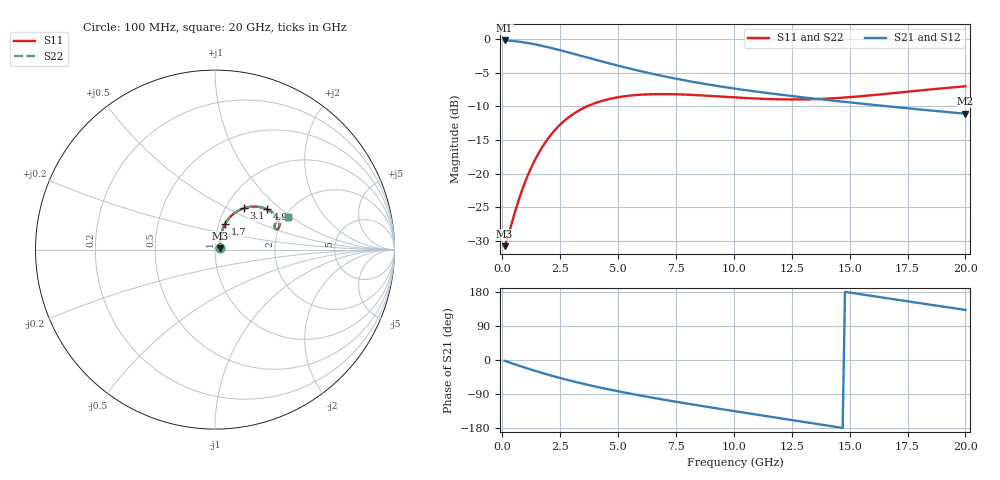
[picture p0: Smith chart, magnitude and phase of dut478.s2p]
! Touchstone file exported from HFSS 2024.1.0
!  File:  C:/UserFiles/LocalFiles/RDL_TSV_Batchsim/temp_RDL_TSV_478_1779731542.aedt
!  Generated:  02:06:38 AM May 26, 2026
!  Design:  RDL_TSV
!  Project:  temp_RDL_TSV_478_1779731542
!  Setup:  Setup1
!  Solution:  Sweep
! Variables:
!  dtsv = 13.51um
!  hbump = 3um
!  htsv = 61.97um
!  ldown = 617.61um
!  lrdl = 362.07um
!  p = 40
!  p1 = 56.53um
!  rhole = 10um
!  subl = 3301.11um
!  t = 450um
!  tdown = 3.83um
!  trdl = 3.39um
!  viad = 10um
!  wdown = 11.7um
!  wrdl = 10.79um
!  xbump = 18um
# GHz S MA R 50.000000
! Terminal data exported
! Port[1] = TM1_1_T1
! Port[2] = TM1_4_T1
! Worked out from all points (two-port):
!   200 points, 100 MHz to 20 GHz, reference 50 ohm
!   highest |S21| = -0.25 dB at 100 MHz (marker M1); lowest = -11.1 dB at 20 GHz (marker M2)
!   |S21| within 3 dB of the highest: start of sweep to 4.183 GHz
!   lowest |S11| = -30.7 dB at 100 MHz (marker M3), VSWR 1.06, Z = 52.9 + j0.846 ohm
!   |S11| at or under -10 dB: start of sweep to 3.67 GHz
!   |S22| runs from -30.7 to -7.1 dB; largest |S21 - S12| = 8.4e-14
!   S11 on the Smith chart (normalised r, x): 100 MHz: 1.06, +0.02; 1.7 GHz: 1.07, +0.32; 3.1 GHz: 1.21, +0.61; 4.9 GHz: 1.56, +0.81; 20 GHz: 2.07, +0.94
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0.1  0.02907 16.0  0.9717 -2.1  0.9717 -2.1  0.02907 16.0
! Gamma 0 0 0 0
! Port Impedance 50 0 50 0
0.2  0.03239 29.0  0.9703 -4.3  0.9703 -4.3  0.03239 29.0
0.5  0.04878 53.2  0.9616 -10.6  0.9616 -10.6  0.04878 53.1
0.9  0.07944 65.9  0.9424 -18.7  0.9424 -18.7  0.07942 65.9
1.3  0.1158 69.4  0.9173 -26.4  0.9173 -26.4  0.1158 69.3
1.7  0.155 68.6  0.8879 -33.8  0.8879 -33.8  0.1549 68.6
2.3  0.2131 63.8  0.8391 -44.2  0.8391 -44.2  0.213 63.8
2.7  0.2485 59.6  0.8056 -50.7  0.8056 -50.7  0.2483 59.6
3.1  0.2797 55.3  0.7723 -56.9  0.7723 -56.9  0.2794 55.3
3.5  0.3063 51.0  0.74 -62.8  0.74 -62.8  0.3061 51.0
4.2  0.3423 44.0  0.6867 -72.4  0.6867 -72.4  0.342 44.0
4.9  0.3662 37.9  0.6386 -81.3  0.6386 -81.3  0.3659 37.9
5.8  0.3832 31.4  0.5849 -91.9  0.5849 -91.9  0.3828 31.4
6.8  0.3891 25.9  0.5353 -102.8  0.5353 -102.8  0.3886 25.8
8.4  0.3823 20.3  0.4738 -119.2  0.4738 -119.2  0.3817 20.3
10.1  0.3673 18.1  0.4258 -135.7  0.4258 -135.7  0.3666 18.1
11.7  0.3567 18.9  0.3912 -150.9  0.3912 -150.9  0.356 18.9
13.4  0.3568 21.4  0.3615 -167.0  0.3615 -167.0  0.3561 21.5
15  0.3694 23.9  0.3376 178.0  0.3376 178.0  0.3688 24.0
16.7  0.3928 25.5  0.3152 162.2  0.3152 162.2  0.3924 25.6
18.4  0.4201 25.4  0.2952 146.6  0.2952 146.6  0.4198 25.5
20  0.444 24.2  0.2785 132.2  0.2785 132.2  0.4439 24.3
